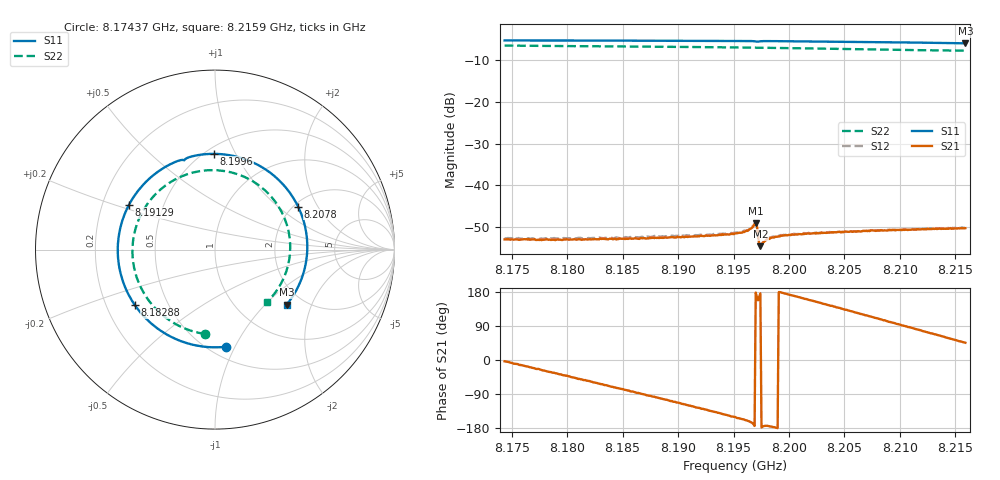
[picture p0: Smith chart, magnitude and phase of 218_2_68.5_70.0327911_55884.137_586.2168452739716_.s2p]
#  HZ  S  RI  R  50.00
! Rohde & Schwarz Vector Network Analyzer
! Rohde-Schwarz,ZNB20-2Port,1311601062101988,3.16
! Created: UTC 3/20/2024, 4:58:19 PM
! freq[Hz]  re:S11  im:S11  re:S21  im:S21  re:S12  im:S12  re:S22  im:S22
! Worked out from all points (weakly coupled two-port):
!   401 points, 8.17437 GHz to 8.2159 GHz, reference 50 ohm
!   highest |S21| = -49.06 dB at 8.197 GHz (marker M1); lowest = -54.5 dB at 8.19742 GHz (marker M2)
!   lowest |S11| = -6.0 dB at 8.2159 GHz (marker M3), VSWR 3.03, Z = 82 - j67.4 ohm
!   |S11| at or under -10 dB: nowhere
!   |S22| runs from -7.7 to -6.5 dB; largest |S21 - S12| = 0.00019
!   S11 on the Smith chart (normalised r, x): 8.17437 GHz: 0.60, -0.92; 8.18288 GHz: 0.32, -0.28; 8.19129 GHz: 0.31, +0.22; 8.1996 GHz: 0.55, +0.83; 8.2078 GHz: 2.11, +1.39; 8.2159 GHz: 1.64, -1.35
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8.174365e9  0.0625 -0.5409  0.00226 -0.000132  0.00233 -0.00011  -0.0566 -0.4698
8.177792e9  -0.1697 -0.517  0.00199 -0.00104  0.00205 -0.00103  -0.2381 -0.404
8.181322e9  -0.3768 -0.392  0.0014 -0.00174  0.00144 -0.00184  -0.3804 -0.2677
8.18288e9  -0.4463 -0.3096  0.00105 -0.002  0.00108 -0.00213  -0.422 -0.1916
8.185684e9  -0.526 -0.1326  0.000305 -0.00231  0.000302 -0.0024  -0.4589 -0.0406
8.18828e9  -0.5395 0.0472  -0.000425 -0.00231  -0.000468 -0.00242  -0.4464 0.1023
8.191291e9  -0.4799 0.2482  -0.0013 -0.00208  -0.00142 -0.00212  -0.377 0.2539
8.195133e9  -0.2999 0.4463  -0.00232 -0.00132  -0.00242 -0.00124  -0.2169 0.3934
8.196172e9  -0.2352 0.4823  -0.00268 -0.00102  -0.00276 -0.000925  -0.1638 0.4167
8.196899e9  -0.1842 0.4996  -0.0034 -0.000351  -0.00352 -0.000209  -0.1246 0.4287
8.197002e9  -0.1765 0.4992  -0.00352 0.000132  -0.00358 0.000241  -0.1188 0.43
8.197418e9  -0.159 0.5086  -0.00187 0.000135  -0.00191 0.000219  -0.0961 0.435
8.197522e9  -0.1517 0.512  -0.00193 -6.94e-05  -0.00197 -1.26e-06  -0.0905 0.4362
8.198352e9  -0.0925 0.5269  -0.00235 -0.000174  -0.00238 -9.83e-05  -0.0438 0.4418
8.199598e9  -0.00416 0.5336  -0.00252 0.000202  -0.00254 0.000272  0.0271 0.4409
8.202091e9  0.1687 0.503  -0.00245 0.00106  -0.00243 0.00116  0.164 0.405
8.204791e9  0.3332 0.4077  -0.00198 0.00195  -0.00191 0.00205  0.2923 0.3173
8.207802e9  0.4631 0.2395  -0.00102 0.00267  -0.000952 0.00273  0.3891 0.17
8.209048e9  0.4946 0.1565  -0.000535 0.00289  -0.00049 0.00287  0.4106 0.0984
8.210709e9  0.5137 0.0395  0.000149 0.00292  0.000193 0.00299  0.4188 -0.00148
8.212371e9  0.5055 -0.0791  0.000829 0.00286  0.000895 0.00292  0.403 -0.102
8.215902e9  0.3989 -0.3069  0.00216 0.0022  0.00226 0.00218  0.2914 -0.2908
